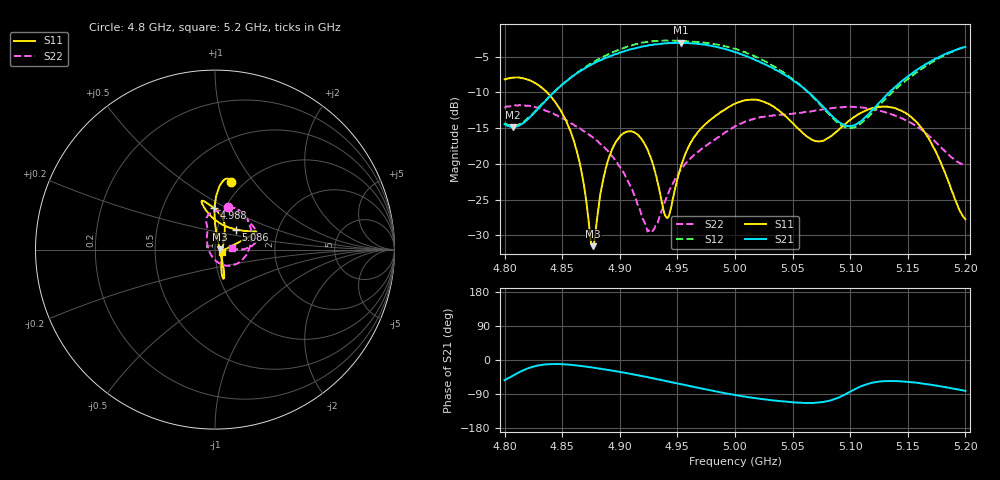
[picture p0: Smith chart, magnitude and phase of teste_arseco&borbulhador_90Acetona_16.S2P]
! Network Analyzer HP8722D
! Hewlett-Packard
! Data name: Linha & Wilkinson
! Saver's name: Rodrigo Anjos
! Comments: Teste da utilização de aquisição
! continua pelo VNA HP8722D
! Time and date: 17/4/2025 11:11
!  Frequency  S11  S21  S12  S22
# HZ  S  MA R 50
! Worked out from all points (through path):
!   401 points, 4.8 GHz to 5.2 GHz, reference 50 ohm
!   highest |S21| = -3.07 dB at 4.953 GHz (marker M1); lowest = -14.8 dB at 4.807 GHz (marker M2)
!   lowest |S11| = -31.5 dB at 4.877 GHz (marker M3), VSWR 1.05, Z = 52.7 + j0.0722 ohm
!   |S11| at or under -10 dB: 4.837 GHz to end of sweep
!   |S22| runs from -29.6 to -11.7 dB; largest |S21 - S12| = 1.4
!   S11 on the Smith chart (normalised r, x): 4.8 GHz: 0.87, +0.78; 4.988 GHz: 0.89, +0.43; 5.086 GHz: 1.23, +0.28; 5.2 GHz: 1.08, -0.03
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4.8e9  0.3893 76.8  0.1892 -53.0  0.1932 82.0  0.2465 72.4
4.807e9  0.401 78.9  0.1812 -41.9  0.1841 92.2  0.2532 66.2
4.844e9  0.2697 89.6  0.3235 -10.6  0.3242 122.8  0.2196 22.6
4.858e9  0.1618 90.1  0.4034 -12.8  0.4048 122.4  0.1915 1.7
4.867e9  0.08603 83.9  0.4523 -16.1  0.4571 121.2  0.1731 -12.1
4.877e9  0.02654 1.5  0.5023 -20.1  0.5134 118.5  0.1521 -27.9
4.888e9  0.09442 -62.6  0.5513 -25.3  0.572 114.9  0.1262 -44.6
4.902e9  0.161 -71.6  0.6061 -32.4  0.6406 108.9  0.08991 -66.4
4.925e9  0.1205 -72.8  0.6748 -45.9  0.7148 96.2  0.03428 -142.0
4.934e9  0.06758 -57.6  0.6891 -51.6  0.7278 90.4  0.04154 161.1
4.942e9  0.04211 3.8  0.6979 -56.7  0.727 85.3  0.06182 135.4
4.953e9  0.09557 56.7  0.7026 -63.7  0.7231 78.4  0.091 119.5
4.966e9  0.1596 71.4  0.6933 -71.9  0.7136 70.1  0.1182 111.2
4.988e9  0.2308 91.7  0.6442 -85.5  0.6746 55.8  0.159 108.0
5e9  0.2632 100.0  0.6036 -92.5  0.6389 48.4  0.1835 104.8
5.028e9  0.2656 105.5  0.4876 -104.5  0.5108 33.9  0.2159 88.9
5.067e9  0.1471 76.7  0.2998 -113.3  0.2974 27.5  0.2334 54.4
5.086e9  0.1621 43.5  0.2094 -103.7  0.2046 39.3  0.246 36.4
5.105e9  0.2169 28.0  0.1885 -75.5  0.1821 69.2  0.2493 22.1
5.134e9  0.2497 23.3  0.3158 -55.4  0.3022 91.0  0.2246 8.9
5.164e9  0.1689 19.0  0.4892 -62.8  0.4725 85.4  0.1683 1.5
5.2e9  0.04092 -17.3  0.6577 -81.6  0.6613 67.5  0.09695 5.5
